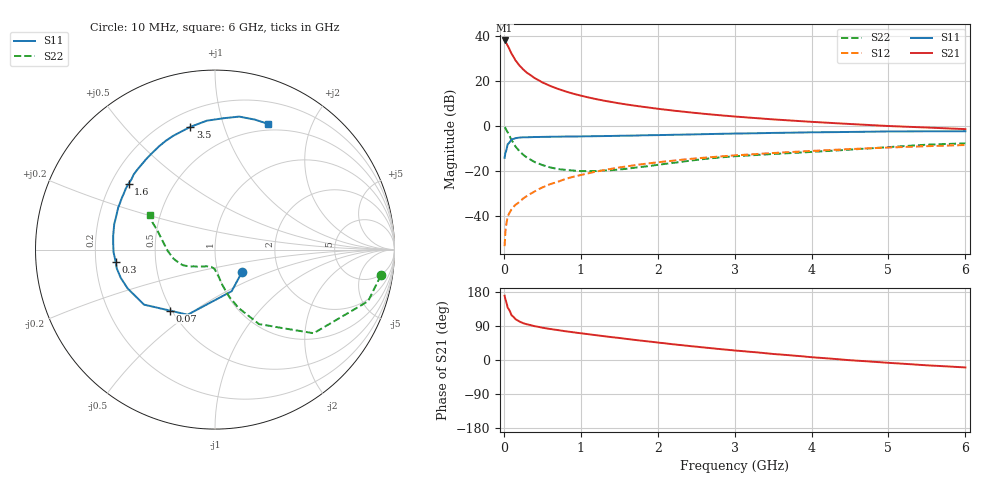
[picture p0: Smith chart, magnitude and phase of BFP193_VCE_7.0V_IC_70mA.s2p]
! Infineon Technologies  Discrete & RF Semiconductors
! BFP193
! VCE =  7.0 V,  IC =  70 mA
! Common Emitter S-Parameters:  Jan 2017
# GHz  S  MA  R  50
!  f  S11  S21  S12  S22
! GHz  MAG  ANG  MAG  ANG  MAG  ANG  MAG  ANG
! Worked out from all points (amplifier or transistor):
!   77 points, 10 MHz to 6 GHz, reference 50 ohm
!   highest |S21| = 38.0 dB at 10 MHz (marker M1)
!   |S21| within 3 dB of that: start of sweep to 60.29 MHz
!   unconditionally stable (mu >= 1): 488.2 MHz to 2.395 GHz
!   at 130 MHz: K = 0.66, MSG = 33.2 dB, |S12| = -35.9 dB
!   at 2.2 GHz: K = 1.01, MAG = 10.5 dB, |S12| = -15.5 dB
!   at 6 GHz: K = 0.92, MSG = 3.5 dB, |S12| = -8.5 dB
!   S11 on the Smith chart (normalised r, x): 10 MHz: 1.31, -0.33; 70 MHz: 0.49, -0.41; 300 MHz: 0.29, -0.06; 1.6 GHz: 0.27, +0.32; 3.5 GHz: 0.29, +0.78; 6 GHz: 0.43, +1.42
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0.01  0.1951 -38.8  79.77 169.7  0.0021 78.9  0.9352 -8.8
0.02  0.2498 -68.2  77.37 160.5  0.0044 85.0  0.9004 -18.6
0.05  0.3936 -112.8  61.17 138.1  0.0095 64.7  0.7205 -40.3
0.07  0.4221 -126.3  52.21 132.0  0.0113 63.2  0.6179 -46.2
0.1  0.5003 -142.2  40.49 118.0  0.0139 61.6  0.4825 -59.4
0.15  0.5324 -155.9  29 108.0  0.0174 61.4  0.3506 -68.0
0.2  0.5482 -163.3  22.4 101.8  0.0201 65.0  0.2769 -73.0
0.25  0.5571 -169.1  18.18 97.3  0.0241 64.5  0.2296 -76.0
0.3  0.5576 -172.9  15.24 94.2  0.0274 66.1  0.1963 -78.6
0.4  0.5655 -178.6  11.59 89.2  0.0347 69.1  0.1568 -81.8
0.5  0.5685 176.4  9.303 85.3  0.0425 69.6  0.1345 -85.1
0.6  0.5724 172.4  7.797 81.9  0.0503 69.5  0.1195 -88.3
0.7  0.5748 169.2  6.693 79.0  0.0568 70.2  0.1092 -90.7
0.8  0.5791 165.8  5.871 75.9  0.0658 70.4  0.105 -93.9
1.1  0.5876 156.7  4.298 68.1  0.0881 67.5  0.0984 -104.3
1.6  0.6057 142.6  2.988 55.5  0.1258 62.2  0.1113 -122.2
2.1  0.6279 129.7  2.298 43.9  0.1614 55.9  0.1427 -138.8
3.1  0.6782 108.5  1.57 23.5  0.2257 43.1  0.2155 -160.4
3.5  0.6975 101.4  1.396 15.9  0.2491 38.7  0.237 -167.8
4.1  0.7216 92.1  1.203 5.9  0.2823 31.4  0.2693 179.2
5.1  0.7532 78.4  0.978 -8.7  0.3343 19.8  0.3454 160.7
6  0.7604 67.1  0.847 -19.7  0.375 9.6  0.4089 151.9
